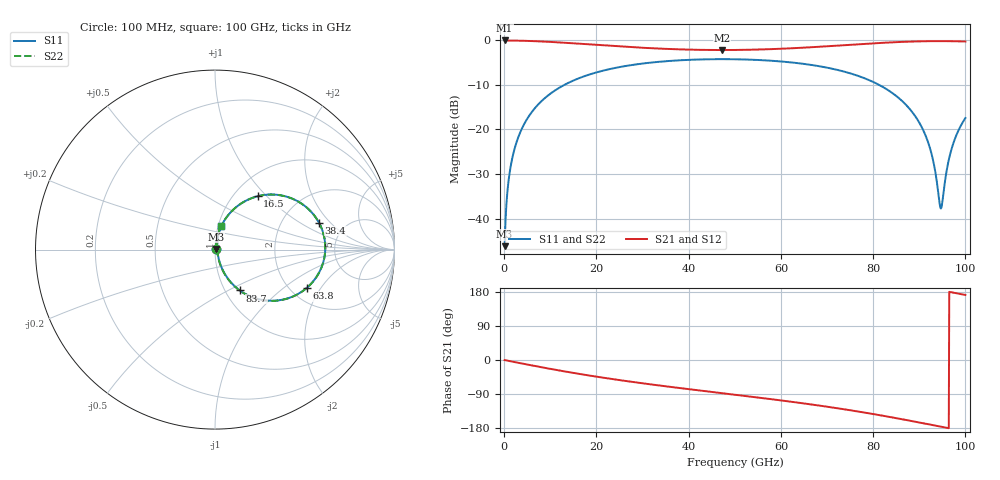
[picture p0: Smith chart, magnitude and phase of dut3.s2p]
! Touchstone file exported from HFSS 2026.1.0
!  File:  C:/ffzhzh/LocalFiles/Ansys_Project_Files/temp_train_RDL_3_1783497506_41296.aedt
!  Generated:  03:59:46 PM Jul  8, 2026
!  Design:  RDL
!  Project:  temp_train_RDL_3_1783497506_41296
! Variables:
!  h_bsmrdl = 2um
!  h_ox = 20um
!  h_rdl = 5um
!  h_sub = 80um
!  h_tmrdl = 2.61um
!  h_tsv = 80um
!  h_via = 3um
!  l_bsmrdl = 300um
!  l_sub = 1005.43um
!  l_tmrdl = 605.43um
!  m_sub = 200um
!  pitch = 55.68um
!  r_tsv = 6um
!  s_tmrdl = 10um
!  w_bsmrdl = 18um
!  w_sub = 500um
!  w_tmrdl = 21.99um
!  x_tsv_center1 = 616.425um
!  x_tsv_center2 = 934.425um
!  x_tsv_center3 = 1561.845um
!  x_tsv_center4 = 1879.845um
!  x_tsv_center5 = 2507.265um
!  x_tsv_center6 = 2825.265um
# GHz S MA R 50.000000
! Terminal data exported
! Port[1] = TM_RDL1_1_T1
! Port[2] = TM_RDL1_1_T2
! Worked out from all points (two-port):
!   1000 points, 100 MHz to 100 GHz, reference 50 ohm
!   highest |S21| = -0.03 dB at 100 MHz (marker M1); lowest = -2.2 dB at 47.2 GHz (marker M2)
!   |S21| within 3 dB of the highest: start of sweep to end of sweep
!   lowest |S11| = -46.2 dB at 100 MHz (marker M3), VSWR 1.01, Z = 50.4 + j0.293 ohm
!   |S11| at or under -10 dB: start of sweep to 13.05 GHz; 81.29 GHz to end of sweep
!   |S22| runs from -46.2 to -4.2 dB; largest |S21 - S12| = 1.7e-14
!   S11 on the Smith chart (normalised r, x): 100 MHz: 1.01, +0.01; 16.5 GHz: 1.28, +0.89; 38.4 GHz: 3.21, +1.51; 63.8 GHz: 2.43, -1.50; 83.7 GHz: 1.17, -0.57; 100 GHz: 1.03, +0.27
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0.1  0.00492 36.2  0.996 -0.3  0.996 -0.3  0.00492 36.2
! Gamma 0 0 0 0
! Port Impedance 50 0 50 0
0.9  0.02516 76.5  0.9948 -2.2  0.9948 -2.2  0.02516 76.5
1.5  0.04086 79.1  0.994 -3.6  0.994 -3.6  0.04086 79.1
2.6  0.06976 79.2  0.9921 -6.3  0.9921 -6.3  0.06976 79.2
4.1  0.1088 77.0  0.9881 -9.8  0.9881 -9.8  0.1088 77.0
9  0.229 66.9  0.9656 -21.2  0.9656 -21.2  0.229 66.9
16.5  0.3806 51.4  0.9145 -37.1  0.9145 -37.1  0.3806 51.3
16.8  0.3858 50.8  0.9123 -37.7  0.9123 -37.7  0.3858 50.8
33.4  0.5731 22.1  0.8083 -66.9  0.8083 -66.9  0.5731 22.1
38.4  0.5981 14.6  0.7905 -74.5  0.7905 -74.5  0.5981 14.6
47.2  0.6147 1.9  0.7781 -87.5  0.7781 -87.5  0.6147 1.9
50.1  0.6129 -2.2  0.7794 -91.7  0.7794 -91.7  0.613 -2.3
63.8  0.5536 -22.7  0.821 -112.6  0.821 -112.6  0.5536 -22.8
66.7  0.5285 -27.4  0.8367 -117.5  0.8367 -117.5  0.5286 -27.5
83.4  0.2728 -58.1  0.9452 -149.9  0.9452 -149.9  0.2728 -58.3
83.7  0.2663 -58.7  0.9469 -150.5  0.9469 -150.5  0.2664 -58.9
88  0.1682 -66.6  0.9673 -160.2  0.9673 -160.2  0.1682 -67.0
91  0.09469 -70.0  0.9761 -167.2  0.9761 -167.2  0.09464 -70.7
92.8  0.04992 -67.0  0.9788 -171.5  0.9788 -171.5  0.04973 -68.2
94.7  0.01302 5.1  0.9794 -175.9  0.9794 -175.9  0.01197 4.9
97  0.06048 75.6  0.9771 178.6  0.9771 178.6  0.06019 76.6
100  0.1345 75.6  0.9693 171.6  0.9693 171.6  0.1344 76.0
